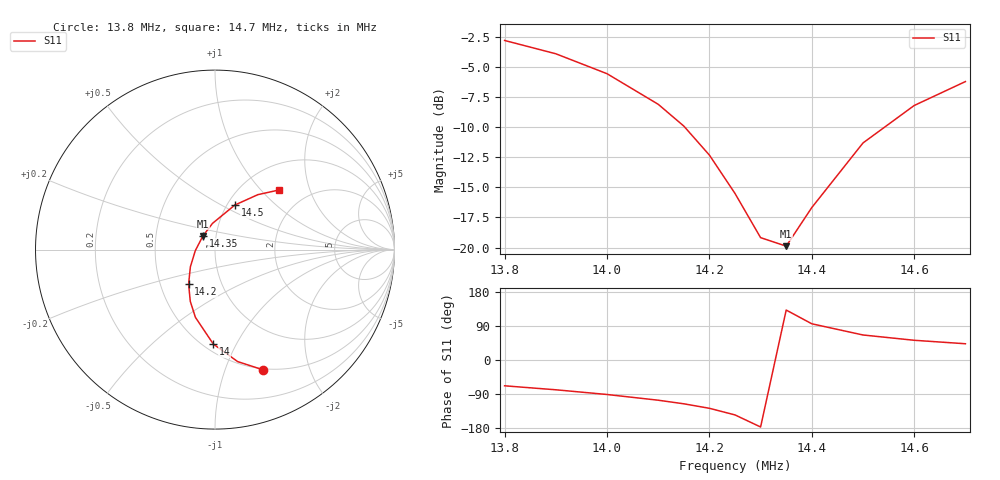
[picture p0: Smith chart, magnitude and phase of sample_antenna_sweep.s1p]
! Sample antenna feedpoint sweep (synthetic), 20m dipole trimmed slightly
! long -- resonance (X=0) near 14.3 MHz. Same antenna as
! sample_antenna_sweep.csv, converted to S11 for testing the Touchstone
! loader against the CSV loader.
! Freq(MHz)  S11(real)  S11(imag)
# MHz S RI R 50
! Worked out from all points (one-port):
!   13 points, 13.8 MHz to 14.7 MHz, reference 50 ohm
!   lowest |S11| = -19.9 dB at 14.35 MHz (marker M1), VSWR 1.23, Z = 43.2 + j6.6 ohm
!   |S11| at or under -10 dB: 14.15 MHz to 14.54 MHz (390.8 kHz wide, 2.72 % of centre)
!   S11 on the Smith chart (normalised r, x): 13.8 MHz: 0.49, -1.36; 14 MHz: 0.56, -0.81; 14.2 MHz: 0.70, -0.28; 14.35 MHz: 0.86, +0.13; 14.5 MHz: 1.09, +0.58; 14.7 MHz: 1.46, +1.27
13.8  0.2695 -0.6705
13.9  0.126 -0.6238
14  -0.00949 -0.5261
14.1  -0.1091 -0.3775
14.15  -0.1378 -0.2879
14.2  -0.1471 -0.1921
14.25  -0.1373 -0.0964
14.3  -0.1098 -0.00616
14.35  -0.0676 0.0756
14.4  -0.0142 0.1459
14.5  0.1105 0.2482
14.6  0.239 0.3062
14.7  0.3575 0.3322
